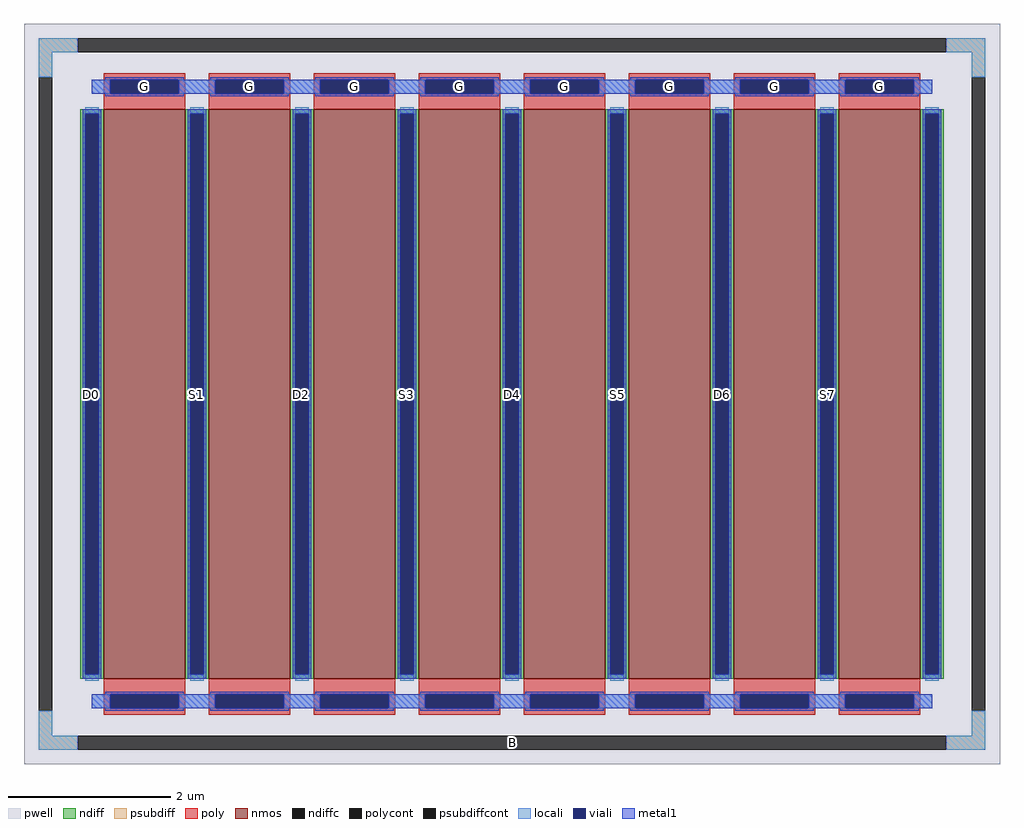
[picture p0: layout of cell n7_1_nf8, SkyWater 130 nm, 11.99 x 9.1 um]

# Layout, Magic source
magic
tech sky130A
magscale 1 2
<< pwell >>
rect -1199 -910 1199 910
<< nmos >>
rect -1003 -700 -803 700
rect -745 -700 -545 700
rect -487 -700 -287 700
rect -229 -700 -29 700
rect 29 -700 229 700
rect 287 -700 487 700
rect 545 -700 745 700
rect 803 -700 1003 700
<< ndiff >>
rect -1061 688 -1003 700
rect -1061 -688 -1049 688
rect -1015 -688 -1003 688
rect -1061 -700 -1003 -688
rect -803 688 -745 700
rect -803 -688 -791 688
rect -757 -688 -745 688
rect -803 -700 -745 -688
rect -545 688 -487 700
rect -545 -688 -533 688
rect -499 -688 -487 688
rect -545 -700 -487 -688
rect -287 688 -229 700
rect -287 -688 -275 688
rect -241 -688 -229 688
rect -287 -700 -229 -688
rect -29 688 29 700
rect -29 -688 -17 688
rect 17 -688 29 688
rect -29 -700 29 -688
rect 229 688 287 700
rect 229 -688 241 688
rect 275 -688 287 688
rect 229 -700 287 -688
rect 487 688 545 700
rect 487 -688 499 688
rect 533 -688 545 688
rect 487 -700 545 -688
rect 745 688 803 700
rect 745 -688 757 688
rect 791 -688 803 688
rect 745 -700 803 -688
rect 1003 688 1061 700
rect 1003 -688 1015 688
rect 1049 -688 1061 688
rect 1003 -700 1061 -688
<< ndiffc >>
rect -1049 -688 -1015 688
rect -791 -688 -757 688
rect -533 -688 -499 688
rect -275 -688 -241 688
rect -17 -688 17 688
rect 241 -688 275 688
rect 499 -688 533 688
rect 757 -688 791 688
rect 1015 -688 1049 688
<< psubdiff >>
rect -1163 840 -1067 874
rect 1067 840 1163 874
rect -1163 778 -1129 840
rect 1129 778 1163 840
rect -1163 -840 -1129 -778
rect 1129 -840 1163 -778
rect -1163 -874 -1067 -840
rect 1067 -874 1163 -840
<< psubdiffcont >>
rect -1067 840 1067 874
rect -1163 -778 -1129 778
rect 1129 -778 1163 778
rect -1067 -874 1067 -840
<< poly >>
rect -1003 772 -803 788
rect -1003 738 -987 772
rect -819 738 -803 772
rect -1003 700 -803 738
rect -745 772 -545 788
rect -745 738 -729 772
rect -561 738 -545 772
rect -745 700 -545 738
rect -487 772 -287 788
rect -487 738 -471 772
rect -303 738 -287 772
rect -487 700 -287 738
rect -229 772 -29 788
rect -229 738 -213 772
rect -45 738 -29 772
rect -229 700 -29 738
rect 29 772 229 788
rect 29 738 45 772
rect 213 738 229 772
rect 29 700 229 738
rect 287 772 487 788
rect 287 738 303 772
rect 471 738 487 772
rect 287 700 487 738
rect 545 772 745 788
rect 545 738 561 772
rect 729 738 745 772
rect 545 700 745 738
rect 803 772 1003 788
rect 803 738 819 772
rect 987 738 1003 772
rect 803 700 1003 738
rect -1003 -738 -803 -700
rect -1003 -772 -987 -738
rect -819 -772 -803 -738
rect -1003 -788 -803 -772
rect -745 -738 -545 -700
rect -745 -772 -729 -738
rect -561 -772 -545 -738
rect -745 -788 -545 -772
rect -487 -738 -287 -700
rect -487 -772 -471 -738
rect -303 -772 -287 -738
rect -487 -788 -287 -772
rect -229 -738 -29 -700
rect -229 -772 -213 -738
rect -45 -772 -29 -738
rect -229 -788 -29 -772
rect 29 -738 229 -700
rect 29 -772 45 -738
rect 213 -772 229 -738
rect 29 -788 229 -772
rect 287 -738 487 -700
rect 287 -772 303 -738
rect 471 -772 487 -738
rect 287 -788 487 -772
rect 545 -738 745 -700
rect 545 -772 561 -738
rect 729 -772 745 -738
rect 545 -788 745 -772
rect 803 -738 1003 -700
rect 803 -772 819 -738
rect 987 -772 1003 -738
rect 803 -788 1003 -772
<< polycont >>
rect -987 738 -819 772
rect -729 738 -561 772
rect -471 738 -303 772
rect -213 738 -45 772
rect 45 738 213 772
rect 303 738 471 772
rect 561 738 729 772
rect 819 738 987 772
rect -987 -772 -819 -738
rect -729 -772 -561 -738
rect -471 -772 -303 -738
rect -213 -772 -45 -738
rect 45 -772 213 -738
rect 303 -772 471 -738
rect 561 -772 729 -738
rect 819 -772 987 -738
<< locali >>
rect -1163 840 -1067 874
rect 1067 840 1163 874
rect -1163 778 -1129 840
rect 1129 778 1163 840
rect -1032 738 -987 772
rect -819 738 -729 772
rect -561 738 -471 772
rect -303 738 -213 772
rect -45 738 45 772
rect 213 738 303 772
rect 471 738 561 772
rect 729 738 819 772
rect 987 738 1032 772
rect -1049 688 -1015 704
rect -1049 -704 -1015 -688
rect -791 688 -757 704
rect -791 -704 -757 -688
rect -533 688 -499 704
rect -533 -704 -499 -688
rect -275 688 -241 704
rect -275 -704 -241 -688
rect -17 688 17 704
rect -17 -704 17 -688
rect 241 688 275 704
rect 241 -704 275 -688
rect 499 688 533 704
rect 499 -704 533 -688
rect 757 688 791 704
rect 757 -704 791 -688
rect 1015 688 1049 704
rect 1015 -704 1049 -688
rect -1032 -772 -987 -738
rect -819 -772 -729 -738
rect -561 -772 -471 -738
rect -303 -772 -213 -738
rect -45 -772 45 -738
rect 213 -772 303 -738
rect 471 -772 561 -738
rect 729 -772 819 -738
rect 987 -772 1032 -738
rect -1163 -840 -1129 -778
rect 1129 -840 1163 -778
rect -1163 -874 -1067 -840
rect 1067 -874 1163 -840
<< viali >>
rect -987 738 -819 772
rect -729 738 -561 772
rect -471 738 -303 772
rect -213 738 -45 772
rect 45 738 213 772
rect 303 738 471 772
rect 561 738 729 772
rect 819 738 987 772
rect -1049 -688 -1015 688
rect -791 -688 -757 688
rect -533 -688 -499 688
rect -275 -688 -241 688
rect -17 -688 17 688
rect 241 -688 275 688
rect 499 -688 533 688
rect 757 -688 791 688
rect 1015 -688 1049 688
rect -987 -772 -819 -738
rect -729 -772 -561 -738
rect -471 -772 -303 -738
rect -213 -772 -45 -738
rect 45 -772 213 -738
rect 303 -772 471 -738
rect 561 -772 729 -738
rect 819 -772 987 -738
<< metal1 >>
rect -999 772 -807 778
rect -741 772 -549 778
rect -483 772 -291 778
rect -225 772 -33 778
rect 33 772 225 778
rect 291 772 483 778
rect 549 772 741 778
rect 807 772 999 778
rect -1032 738 -987 772
rect -819 738 -729 772
rect -561 738 -471 772
rect -303 738 -213 772
rect -45 738 45 772
rect 213 738 303 772
rect 471 738 561 772
rect 729 738 819 772
rect 987 738 1032 772
rect -999 732 -807 738
rect -741 732 -549 738
rect -483 732 -291 738
rect -225 732 -33 738
rect 33 732 225 738
rect 291 732 483 738
rect 549 732 741 738
rect 807 732 999 738
rect -1055 688 -1009 700
rect -1055 -688 -1049 688
rect -1015 -688 -1009 688
rect -1055 -700 -1009 -688
rect -797 688 -751 700
rect -797 -688 -791 688
rect -757 -688 -751 688
rect -797 -700 -751 -688
rect -539 688 -493 700
rect -539 -688 -533 688
rect -499 -688 -493 688
rect -539 -700 -493 -688
rect -281 688 -235 700
rect -281 -688 -275 688
rect -241 -688 -235 688
rect -281 -700 -235 -688
rect -23 688 23 700
rect -23 -688 -17 688
rect 17 -688 23 688
rect -23 -700 23 -688
rect 235 688 281 700
rect 235 -688 241 688
rect 275 -688 281 688
rect 235 -700 281 -688
rect 493 688 539 700
rect 493 -688 499 688
rect 533 -688 539 688
rect 493 -700 539 -688
rect 751 688 797 700
rect 751 -688 757 688
rect 791 -688 797 688
rect 751 -700 797 -688
rect 1009 688 1055 700
rect 1009 -688 1015 688
rect 1049 -688 1055 688
rect 1009 -700 1055 -688
rect -999 -738 -807 -732
rect -741 -738 -549 -732
rect -483 -738 -291 -732
rect -225 -738 -33 -732
rect 33 -738 225 -732
rect 291 -738 483 -732
rect 549 -738 741 -732
rect 807 -738 999 -732
rect -1032 -772 -987 -738
rect -819 -772 -729 -738
rect -561 -772 -471 -738
rect -303 -772 -213 -738
rect -45 -772 45 -738
rect 213 -772 303 -738
rect 471 -772 561 -738
rect 729 -772 819 -738
rect 987 -772 1032 -738
rect -999 -778 -807 -772
rect -741 -778 -549 -772
rect -483 -778 -291 -772
rect -225 -778 -33 -772
rect 33 -778 225 -772
rect 291 -778 483 -772
rect 549 -778 741 -772
rect 807 -778 999 -772
<< labels >>
rlabel psubdiffcont 0 -857 0 -857 0 B
port 1 nsew
rlabel ndiffc -1032 0 -1032 0 0 D0
port 2 nsew
rlabel polycont -903 755 -903 755 0 G
port 3 nsew
rlabel ndiffc -774 0 -774 0 0 S1
port 4 nsew
rlabel polycont -645 755 -645 755 0 G
port 3 nsew
rlabel ndiffc -516 0 -516 0 0 D2
port 5 nsew
rlabel polycont -387 755 -387 755 0 G
port 3 nsew
rlabel ndiffc -258 0 -258 0 0 S3
port 6 nsew
rlabel polycont -129 755 -129 755 0 G
port 3 nsew
rlabel ndiffc 0 0 0 0 0 D4
port 7 nsew
rlabel polycont 129 755 129 755 0 G
port 3 nsew
rlabel ndiffc 258 0 258 0 0 S5
port 8 nsew
rlabel polycont 387 755 387 755 0 G
port 3 nsew
rlabel ndiffc 516 0 516 0 0 D6
port 9 nsew
rlabel polycont 645 755 645 755 0 G
port 3 nsew
rlabel ndiffc 774 0 774 0 0 S7
port 10 nsew
rlabel polycont 903 755 903 755 0 G
port 3 nsew
<< properties >>
string FIXED_BBOX -1146 -857 1146 857
string gencell sky130_fd_pr__nfet_01v8
string library sky130
string parameters w 7 l 1 m 1 nf 8 diffcov 100 polycov 100 guard 1 glc 1 grc 1 gtc 1 gbc 1 tbcov 100 rlcov 100 topc 1 botc 1 poverlap 0 doverlap 1 lmin 0.15 wmin 0.42 class mosfet compatible {sky130_fd_pr__nfet_01v8 sky130_fd_pr__nfet_01v8_lvt  sky130_fd_bs_flash__special_sonosfet_star  sky130_fd_pr__nfet_g5v0d10v5 sky130_fd_pr__nfet_05v0_nvt  sky130_fd_pr__nfet_03v3_nvt} full_metal 1 conn_gates 1 viasrc 100 viadrn 100 viagate 100 viagb 0 viagr 0 viagl 0 viagt 0 doports 1
<< end >>
